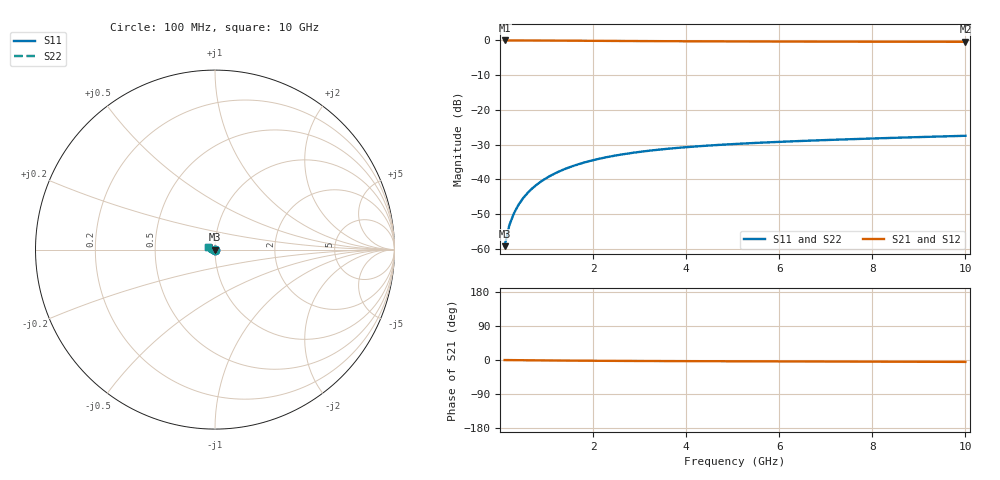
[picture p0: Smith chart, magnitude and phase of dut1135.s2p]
! Touchstone file exported from HFSS 2024.1.0
!  File:  C:/UserFiles/LocalFiles/RDL_TSV_Batchsim/temp_TSV1_1135_1780070352.aedt
!  Generated:  12:04:00 AM May 30, 2026
!  Design:  TSV1
!  Project:  temp_TSV1_1135_1780070352
!  Setup:  Setup1
!  Solution:  Sweep
! Variables:
!  dtsv = 9.94um
!  hbump = 3um
!  htsv = 75.22um
!  lrdl = 252.1521522um
!  p = 40
!  p1 = 57.82um
!  t = 500um
!  trdl = 3um
!  wrdl = 24.89489489um
# GHz S MA R 50.000000
! Terminal data exported
! Port[1] = TSV22_T1
! Port[2] = TSV22_T2
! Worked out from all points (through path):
!   100 points, 100 MHz to 10 GHz, reference 50 ohm
!   highest |S21| = 0.00 dB at 100 MHz (marker M1); lowest = -0.4 dB at 10 GHz (marker M2)
!   lowest |S11| = -59.3 dB at 100 MHz (marker M3), VSWR 1.00, Z = 50 - j0.108 ohm
!   |S11| at or under -10 dB: start of sweep to end of sweep
!   |S22| runs from -59.3 to -27.5 dB; largest |S21 - S12| = 5.1e-15
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0.1  0.001083 -84.7  0.9998 -0.1  0.9998 -0.1  0.001083 -84.7
! Gamma 0 0 0 0
! Port Impedance 50 0 50 0
0.2  0.002154 -90.3  0.9997 -0.2  0.9997 -0.2  0.002154 -90.3
0.3  0.003226 -93.6  0.9995 -0.4  0.9995 -0.4  0.003226 -93.6
0.4  0.004293 -96.3  0.9992 -0.5  0.9992 -0.5  0.004293 -96.3
0.5  0.005352 -98.7  0.9988 -0.6  0.9988 -0.6  0.005352 -98.7
0.6  0.006398 -101.0  0.9984 -0.7  0.9984 -0.7  0.006398 -101.0
0.7  0.007429 -103.3  0.9979 -0.8  0.9979 -0.8  0.007429 -103.3
0.8  0.008442 -105.4  0.9974 -0.9  0.9974 -0.9  0.008442 -105.4
0.9  0.009436 -107.6  0.9967 -1.0  0.9967 -1.0  0.009436 -107.6
1.1  0.01136 -111.7  0.9954 -1.2  0.9954 -1.2  0.01136 -111.7
1.4  0.01407 -117.5  0.9931 -1.5  0.9931 -1.5  0.01407 -117.5
1.6  0.01574 -121.2  0.9914 -1.7  0.9914 -1.7  0.01574 -121.2
1.8  0.01732 -124.8  0.9897 -1.9  0.9897 -1.9  0.01732 -124.8
2.1  0.01949 -129.8  0.9871 -2.1  0.9871 -2.1  0.01949 -129.8
2.5  0.02204 -136.1  0.9837 -2.3  0.9837 -2.3  0.02204 -136.1
2.9  0.02425 -141.8  0.9805 -2.5  0.9805 -2.5  0.02425 -141.8
3.4  0.02659 -148.2  0.9769 -2.8  0.9769 -2.8  0.02659 -148.2
4.2  0.02962 -157.2  0.9721 -3.1  0.9721 -3.1  0.02962 -157.2
5.1  0.03231 -165.8  0.9678 -3.4  0.9678 -3.4  0.03231 -165.8
6.7  0.03604 -178.3  0.9626 -3.9  0.9626 -3.9  0.03604 -178.3
8.4  0.03935 171.1  0.959 -4.5  0.959 -4.5  0.03935 171.1
10  0.04225 162.8  0.9568 -5.0  0.9568 -5.0  0.04225 162.8
